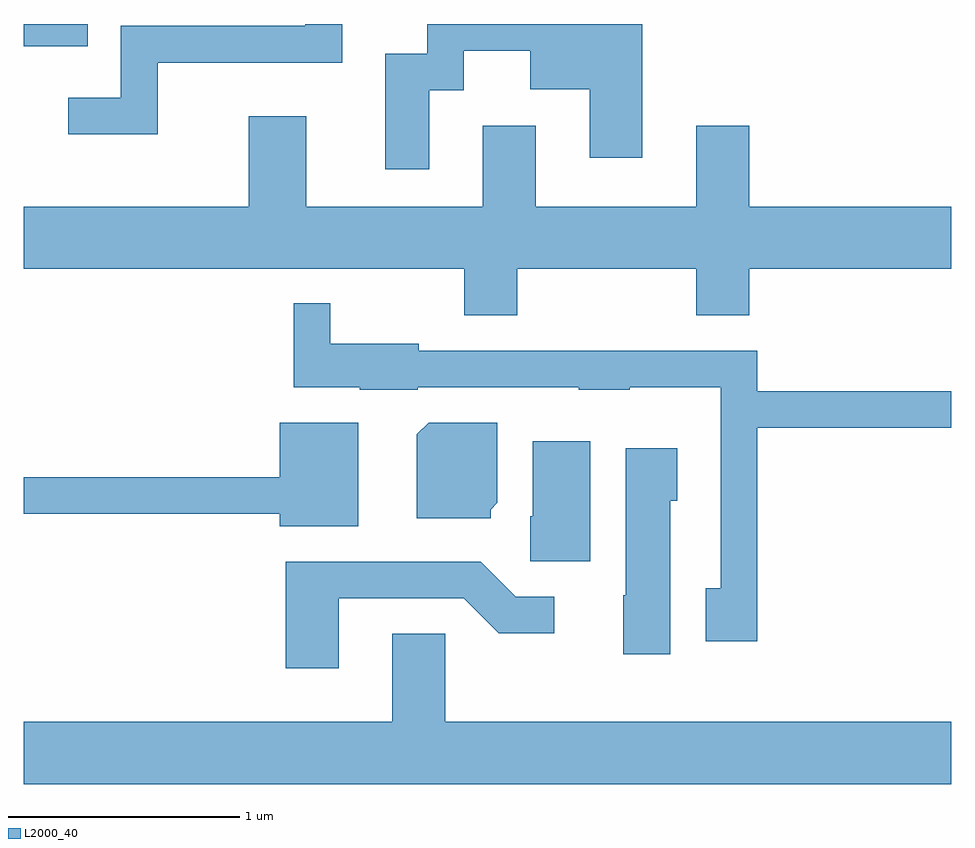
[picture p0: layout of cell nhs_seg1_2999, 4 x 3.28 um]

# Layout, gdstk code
import gdstk
lib = gdstk.Library(unit=1e-6, precision=1e-09)
def R(c, l, rs):  # rectangles x0, y0, x1, y1
    for r in rs: c.add(gdstk.rectangle(r[:2], r[2:], *l))
def P(c, l, *ps):  # polygons
    for p in ps: c.add(gdstk.Polygon(p, *l))
L2000_40 = (2000, 40)

nhs_seg1_2999 = lib.new_cell('nhs_seg1_2999')
R(nhs_seg1_2999, L2000_40, [(275.611,931.616,275.888,931.712)])
P(nhs_seg1_2999, L2000_40, [(277.359,931.426),(277.509,931.426),(277.509,931.596),(277.796,931.596),(277.796,931.431),(278.051,931.431),(278.051,931.136),(278.279,931.136),(278.279,931.712),(277.351,931.712),(277.351,931.584),(277.171,931.584),(277.171,931.086),(277.359,931.086)],
  [(276.189,931.546),(276.984,931.546),(276.984,931.712),(276.826,931.712),(276.826,931.704),(276.031,931.704),(276.031,931.394),(275.803,931.394),(275.803,931.236),(276.189,931.236)],
  [(277.739,930.656),(278.511,930.656),(278.511,930.456),(278.739,930.456),(278.739,930.656),(279.611,930.656),(279.611,930.924),(278.739,930.924),(278.739,931.274),(278.511,931.274),(278.511,930.924),(277.819,930.924),(277.819,931.274),(277.591,931.274),(277.591,930.924),(276.829,930.924),(276.829,931.314),(276.581,931.314),(276.581,930.924),(275.611,930.924),(275.611,930.656),(277.511,930.656),(277.511,930.456),(277.739,930.456)],
  [(278.774,929.971),(279.611,929.971),(279.611,930.129),(278.774,930.129),(278.774,930.304),(277.314,930.304),(277.314,930.334),(276.934,930.334),(276.934,930.508),(276.776,930.508),(276.776,930.146),(277.06,930.146),(277.06,930.136),(277.31,930.136),(277.31,930.146),(278.005,930.146),(278.005,930.136),(278.225,930.136),(278.225,930.146),(278.616,930.146),(278.616,929.279),(278.551,929.279),(278.551,929.051),(278.774,929.051)],
  [(277.624,929.619),(277.654,929.649),(277.654,929.994),(277.357,929.994),(277.306,929.944),(277.306,929.581),(277.624,929.581)],
  [(277.054,929.994),(276.716,929.994),(276.716,929.759),(275.611,929.759),(275.611,929.601),(276.716,929.601),(276.716,929.546),(277.054,929.546)],
  [(278.054,929.914),(277.806,929.914),(277.806,929.59),(277.796,929.59),(277.796,929.396),(278.054,929.396)],
  [(278.399,929.656),(278.429,929.656),(278.429,929.884),(278.206,929.884),(278.206,929.25),(278.196,929.25),(278.196,928.996),(278.399,928.996)],
  [(276.969,929.236),(277.509,929.236),(277.659,929.086),(277.898,929.086),(277.898,929.244),(277.732,929.244),(277.582,929.394),(276.741,929.394),(276.741,928.936),(276.969,928.936)],
  [(279.611,928.704),(277.429,928.704),(277.429,929.084),(277.201,929.084),(277.201,928.704),(275.611,928.704),(275.611,928.436),(279.611,928.436)])

lib.write_gds('nhs_seg1_2999.gds')
